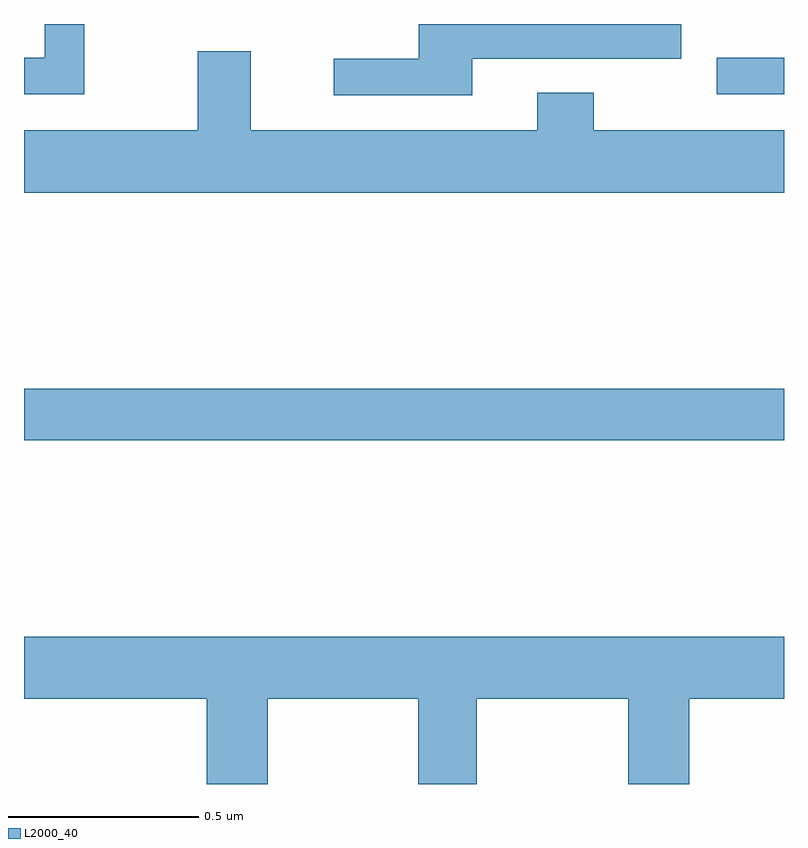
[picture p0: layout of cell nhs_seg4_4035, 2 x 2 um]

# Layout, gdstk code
import gdstk
lib = gdstk.Library(unit=1e-6, precision=1e-09)
def R(c, l, rs):  # rectangles x0, y0, x1, y1
    for r in rs: c.add(gdstk.rectangle(r[:2], r[2:], *l))
def P(c, l, *ps):  # polygons
    for p in ps: c.add(gdstk.Polygon(p, *l))
L2000_40 = (2000, 40)

nhs_seg4_4035 = lib.new_cell('nhs_seg4_4035')
R(nhs_seg4_4035, L2000_40, [(160,826.804,162,826.94), (161.823,827.715,162,827.811)])
P(nhs_seg4_4035, L2000_40, [(160.159,827.9),(160.055,827.9),(160.055,827.811),(160,827.811),(160,827.715),(160.159,827.715)],
  [(161.179,827.808),(161.73,827.808),(161.73,827.9),(161.039,827.9),(161.039,827.808),(160.815,827.808),(160.815,827.712),(161.179,827.712)],
  [(162,827.62),(161.499,827.62),(161.499,827.719),(161.351,827.719),(161.351,827.62),(160.597,827.62),(160.597,827.828),(160.457,827.828),(160.457,827.62),(160,827.62),(160,827.456),(162,827.456)],
  [(160.641,826.124),(161.038,826.124),(161.038,825.9),(161.192,825.9),(161.192,826.124),(161.59,826.124),(161.59,825.9),(161.75,825.9),(161.75,826.124),(162,826.124),(162,826.288),(160,826.288),(160,826.124),(160.481,826.124),(160.481,825.9),(160.641,825.9)])

lib.write_gds('nhs_seg4_4035.gds')
